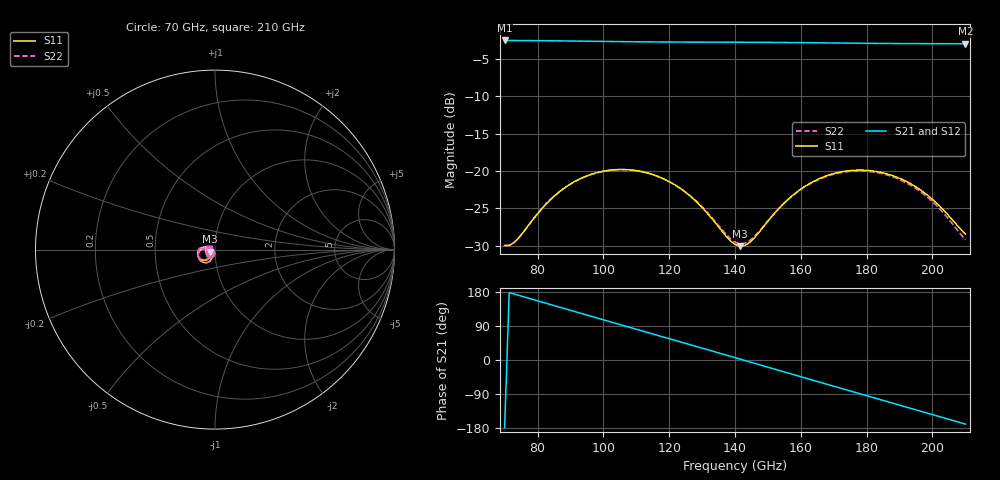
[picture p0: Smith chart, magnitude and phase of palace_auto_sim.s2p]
#  GHZ S DB R 50
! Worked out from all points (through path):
!   101 points, 70 GHz to 210 GHz, reference 50 ohm
!   highest |S21| = -2.54 dB at 70 GHz (marker M1); lowest = -3.0 dB at 210 GHz (marker M2)
!   group delay of S21, straight-line fit = 6.95 ps
!   lowest |S11| = -30.1 dB at 141.4 GHz (marker M3), VSWR 1.06, Z = 47.2 - j1.12 ohm
!   |S11| at or under -10 dB: start of sweep to end of sweep
!   |S22| runs from -29.9 to -19.8 dB; largest |S21 - S12| = 8.6e-14
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70  -30.00 -142.9  -2.54 -178.7  -2.54 -178.7  -29.94 -143.3
74.2  -29.02 -120.9  -2.56 170.8  -2.56 170.8  -29.00 -121.6
81.2  -25.10 -110.2  -2.58 153.3  -2.58 153.3  -25.12 -110.9
86.8  -22.73 -114.9  -2.60 139.2  -2.60 139.2  -22.76 -115.5
93.8  -20.88 -126.2  -2.64 121.6  -2.64 121.6  -20.91 -126.7
99.4  -20.09 -136.8  -2.67 107.6  -2.67 107.6  -20.12 -137.3
105  -19.81 -147.8  -2.70 93.6  -2.70 93.6  -19.83 -148.2
110.6  -20.00 -158.6  -2.72 79.7  -2.72 79.7  -20.02 -159.1
117.6  -20.93 -171.3  -2.75 62.2  -2.75 62.2  -20.93 -171.7
128.8  -24.34 174.7  -2.77 34.3  -2.77 34.3  -24.27 174.4
134.4  -27.16 176.6  -2.77 20.3  -2.77 20.3  -26.99 176.3
140  -29.84 -165.2  -2.78 6.2  -2.78 6.2  -29.52 -166.5
141.4  -30.07 -157.9  -2.78 2.7  -2.78 2.7  -29.76 -159.6
145.6  -29.09 -137.2  -2.79 -7.8  -2.79 -7.8  -28.89 -140.0
152.6  -25.38 -125.2  -2.81 -25.5  -2.81 -25.5  -25.37 -128.1
163.8  -21.42 -135.5  -2.85 -53.6  -2.85 -53.6  -21.49 -138.0
170.8  -20.26 -146.9  -2.89 -71.2  -2.89 -71.2  -20.36 -149.4
176.4  -19.91 -156.9  -2.91 -85.2  -2.91 -85.2  -20.01 -159.4
182  -20.01 -166.8  -2.93 -99.1  -2.93 -99.1  -20.14 -169.5
187.6  -20.59 -176.3  -2.95 -113.1  -2.95 -113.1  -20.74 -179.2
198.8  -23.37 169.2  -2.97 -141.1  -2.97 -141.1  -23.65 165.7
210  -28.45 178.6  -2.98 -169.2  -2.98 -169.2  -29.21 175.6
